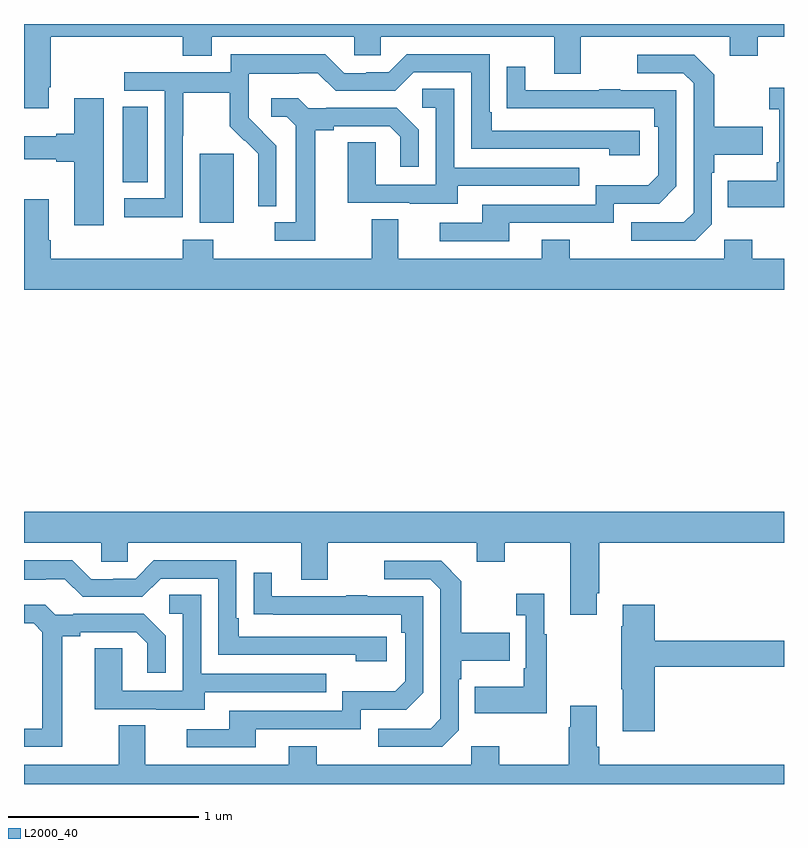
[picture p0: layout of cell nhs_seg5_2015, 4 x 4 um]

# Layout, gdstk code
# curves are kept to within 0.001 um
import gdstk
lib = gdstk.Library(unit=1e-6, precision=1e-09)
def R(c, l, rs):  # rectangles x0, y0, x1, y1
    for r in rs: c.add(gdstk.rectangle(r[:2], r[2:], *l))
def P(c, l, *ps):  # polygons
    for p in ps: c.add(gdstk.Polygon(p, *l))
L2000_40 = (2000, 40)

nhs_seg5_2015 = lib.new_cell('nhs_seg5_2015')
R(nhs_seg5_2015, L2000_40, [(229.925,883.754,230.104,884.115), (229.52,883.966,229.651,884.363)])
P(nhs_seg5_2015, L2000_40, [(229.129,884.467),(229.142,884.467),(229.142,884.732),(229.835,884.732),(229.835,884.633),(229.987,884.633),(229.987,884.732),(230.739,884.732),(230.739,884.634),(230.877,884.634),(230.877,884.732),(231.791,884.732),(231.791,884.538),(231.931,884.538),(231.931,884.732),(232.715,884.732),(232.715,884.633),(232.863,884.633),(232.863,884.732),(233,884.732),(233,884.799),(229,884.799),(229,884.355),(229.129,884.355)],
  [(229.836,884.212),(229.839,884.212),(229.839,884.436),(230.083,884.436),(230.083,884.261),(230.16,884.184),(230.163,884.187),(230.234,884.117),(230.234,883.994),(230.232,883.994),(230.232,883.84),(230.328,883.84),(230.328,884.158),(230.182,884.306),(230.182,884.403),(230.184,884.403),(230.184,884.537),(230.447,884.537),(230.447,884.541),(230.547,884.541),(230.64,884.448),(230.955,884.448),(231.051,884.544),(231.354,884.544),(231.354,884.142),(232.079,884.142),(232.079,884.108),(232.24,884.108),(232.24,884.238),(231.463,884.238),(231.463,884.335),(231.45,884.335),(231.45,884.64),(231.015,884.64),(230.919,884.544),(230.801,884.544),(230.801,884.541),(230.685,884.541),(230.585,884.641),(230.088,884.641),(230.088,884.544),(229.527,884.544),(229.527,884.448),(229.74,884.448),(229.74,883.881),(229.527,883.881),(229.527,883.783),(229.836,883.783)],
  [(232.62,883.746),(232.62,884.015),(232.633,884.015),(232.633,884.111),(232.889,884.111),(232.889,884.259),(232.633,884.259),(232.633,884.531),(232.527,884.637),(232.227,884.637),(232.227,884.541),(232.47,884.541),(232.524,884.487),(232.524,883.806),(232.473,883.755),(232.197,883.755),(232.197,883.659),(232.533,883.659)],
  [(231.553,883.752),(232.104,883.752),(232.104,883.854),(232.344,883.854),(232.434,883.944),(232.434,884.451),(232.139,884.451),(232.139,884.456),(232.027,884.456),(232.027,884.451),(231.637,884.451),(231.637,884.575),(231.541,884.575),(231.541,884.356),(232.318,884.355),(232.318,884.258),(232.338,884.258),(232.338,884.004),(232.285,883.951),(232.008,883.951),(232.008,883.848),(231.413,883.848),(231.413,883.752),(231.189,883.752),(231.189,883.656),(231.553,883.656)],
  [(233,884.464),(232.923,884.464),(232.923,884.351),(232.974,884.351),(232.974,884.071),(232.962,884.071),(232.962,883.975),(232.705,883.975),(232.705,883.835),(233,883.835)],
  [(231.283,883.947),(231.923,883.947),(231.923,884.043),(231.264,884.043),(231.264,884.459),(231.096,884.459),(231.096,884.358),(231.168,884.358),(231.168,883.953),(230.85,883.953),(230.85,884.177),(230.705,884.177),(230.705,883.857),(231.029,883.857),(231.029,883.853),(231.283,883.853)],
  [(230.533,884.24),(230.629,884.24),(230.629,884.262),(230.924,884.262),(230.981,884.205),(230.981,884.049),(231.078,884.049),(231.078,884.242),(230.962,884.358),(230.59,884.358),(230.59,884.355),(230.496,884.355),(230.444,884.407),(230.301,884.407),(230.301,884.31),(230.382,884.31),(230.429,884.263),(230.429,883.755),(230.319,883.755),(230.319,883.659),(230.533,883.659)],
  [(229.42,884.407),(229.265,884.407),(229.265,884.222),(229.169,884.222),(229.169,884.209),(229,884.209),(229,884.087),(229.169,884.087),(229.169,884.075),(229.265,884.075),(229.265,883.74),(229.42,883.74)],
  [(233,883.564),(232.833,883.564),(232.833,883.663),(232.686,883.663),(232.686,883.564),(231.873,883.564),(231.873,883.663),(231.725,883.663),(231.725,883.564),(230.971,883.564),(230.971,883.772),(230.831,883.772),(230.831,883.564),(229.995,883.564),(229.995,883.663),(229.835,883.663),(229.835,883.564),(229.142,883.564),(229.142,883.66),(229.129,883.66),(229.129,883.876),(229,883.876),(229,883.4),(233,883.4)],
  [(232.015,881.803),(232.028,881.803),(232.028,882.068),(233,882.068),(233,882.232),(229,882.232),(229,882.068),(229.407,882.068),(229.407,881.97),(229.545,881.97),(229.545,882.068),(230.459,882.068),(230.459,881.874),(230.599,881.874),(230.599,882.068),(231.383,882.068),(231.383,881.969),(231.531,881.969),(231.531,882.068),(231.875,882.068),(231.875,881.691),(232.015,881.691)],
  [(230.908,881.574),(230.131,881.574),(230.131,881.671),(230.118,881.671),(230.118,881.976),(229.683,881.976),(229.587,881.88),(229.469,881.88),(229.469,881.877),(229.353,881.877),(229.253,881.977),(229,881.977),(229,881.873),(229.115,881.873),(229.115,881.877),(229.215,881.877),(229.308,881.784),(229.623,881.784),(229.719,881.88),(230.022,881.88),(230.022,881.478),(230.747,881.478),(230.747,881.444),(230.908,881.444)],
  [(231.288,881.082),(231.288,881.351),(231.301,881.351),(231.301,881.447),(231.557,881.447),(231.557,881.595),(231.301,881.595),(231.301,881.867),(231.195,881.973),(230.895,881.973),(230.895,881.877),(231.138,881.877),(231.192,881.823),(231.192,881.142),(231.141,881.091),(230.865,881.091),(230.865,880.995),(231.201,880.995)],
  [(230.221,881.088),(230.772,881.088),(230.772,881.19),(231.012,881.19),(231.102,881.28),(231.102,881.787),(230.807,881.787),(230.807,881.792),(230.695,881.792),(230.695,881.787),(230.305,881.787),(230.305,881.911),(230.209,881.911),(230.209,881.692),(230.986,881.691),(230.986,881.594),(231.006,881.594),(231.006,881.34),(230.953,881.287),(230.676,881.287),(230.676,881.184),(230.081,881.184),(230.081,881.088),(229.857,881.088),(229.857,880.992),(230.221,880.992)],
  [(231.751,881.587),(231.739,881.587),(231.739,881.8),(231.591,881.8),(231.591,881.687),(231.642,881.687),(231.642,881.407),(231.63,881.407),(231.63,881.311),(231.373,881.311),(231.373,881.171),(231.751,881.171)],
  [(229.951,881.283),(230.591,881.283),(230.591,881.379),(229.932,881.379),(229.932,881.795),(229.764,881.795),(229.764,881.694),(229.836,881.694),(229.836,881.289),(229.518,881.289),(229.518,881.513),(229.373,881.513),(229.373,881.193),(229.697,881.193),(229.697,881.189),(229.951,881.189)],
  [(232.319,881.416),(233,881.416),(233,881.552),(232.319,881.552),(232.319,881.743),(232.151,881.743),(232.151,881.63),(232.144,881.63),(232.144,881.299),(232.151,881.299),(232.151,881.076),(232.319,881.076)],
  [(229.201,881.576),(229.297,881.576),(229.297,881.598),(229.592,881.598),(229.649,881.541),(229.649,881.385),(229.746,881.385),(229.746,881.578),(229.63,881.694),(229.258,881.694),(229.258,881.691),(229.164,881.691),(229.112,881.743),(229,881.743),(229,881.646),(229.05,881.646),(229.097,881.599),(229.097,881.091),(229,881.091),(229,880.995),(229.201,880.995)],
  [(233,880.9),(232.028,880.9),(232.028,880.996),(232.015,880.996),(232.015,881.212),(231.875,881.212),(231.875,881.099),(231.868,881.099),(231.868,880.9),(231.501,880.9),(231.501,880.999),(231.354,880.999),(231.354,880.9),(230.541,880.9),(230.541,880.999),(230.393,880.999),(230.393,880.9),(229.639,880.9),(229.639,881.108),(229.499,881.108),(229.499,880.9),(229,880.9),(229,880.799),(233,880.799)])

lib.write_gds('nhs_seg5_2015.gds')
